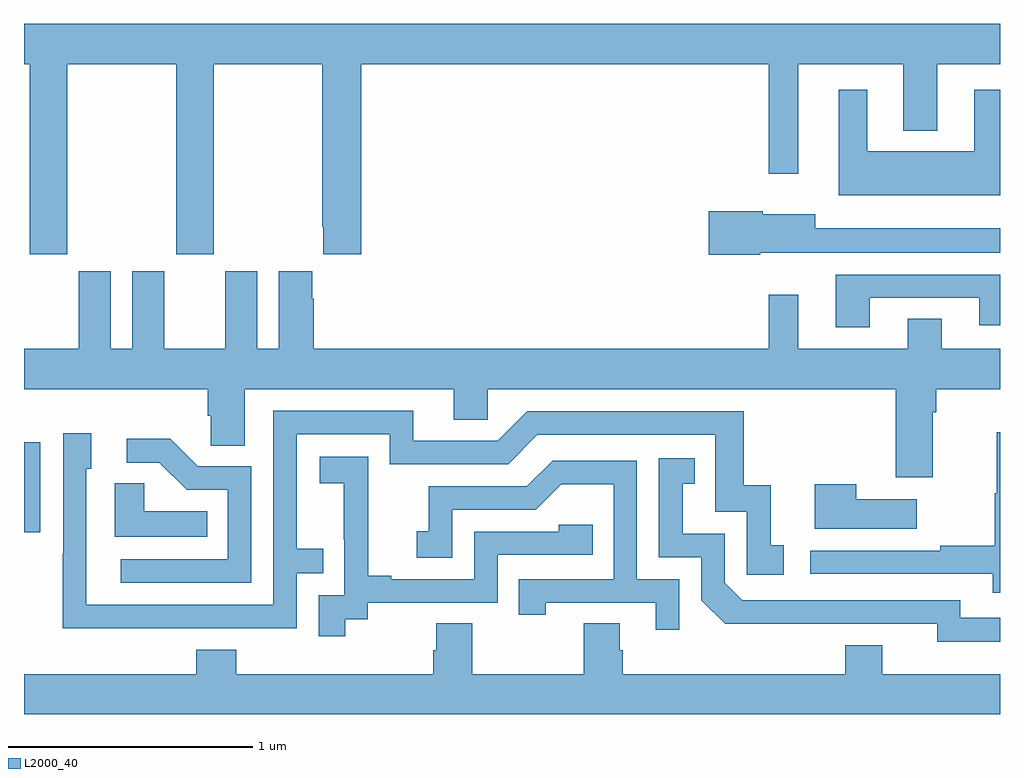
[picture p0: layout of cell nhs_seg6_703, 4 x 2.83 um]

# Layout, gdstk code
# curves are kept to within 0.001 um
import gdstk
lib = gdstk.Library(unit=1e-6, precision=1e-09)
def R(c, l, rs):  # rectangles x0, y0, x1, y1
    for r in rs: c.add(gdstk.rectangle(r[:2], r[2:], *l))
def P(c, l, *ps):  # polygons
    for p in ps: c.add(gdstk.Polygon(p, *l))
L2000_40 = (2000, 40)

nhs_seg6_703 = lib.new_cell('nhs_seg6_703')
R(nhs_seg6_703, L2000_40, [(155,962.733,155.067,963.102)])
P(nhs_seg6_703, L2000_40, [(155,964.652),(155.023,964.652),(155.023,963.873),(155.178,963.873),(155.178,964.652),(155.623,964.652),(155.623,963.873),(155.778,963.873),(155.778,964.652),(156.223,964.652),(156.223,963.985),(156.227,963.985),(156.227,963.873),(156.383,963.873),(156.383,964.652),(158.052,964.652),(158.052,964.203),(158.173,964.203),(158.173,964.652),(158.603,964.652),(158.603,964.379),(158.743,964.379),(158.743,964.652),(159,964.652),(159,964.816),(155,964.816)],
  [(159,964.546),(158.894,964.546),(158.894,964.294),(158.455,964.294),(158.455,964.546),(158.339,964.546),(158.339,964.115),(159,964.115)],
  [(158.018,963.878),(159,963.878),(159,963.979),(158.242,963.979),(158.242,964.036),(158.028,964.036),(158.028,964.049),(157.806,964.049),(157.806,963.871),(158.018,963.871)],
  [(158.725,963.224),(158.738,963.224),(158.738,963.32),(159,963.32),(159,963.484),(158.761,963.484),(158.761,963.608),(158.621,963.608),(158.621,963.484),(158.173,963.484),(158.173,963.706),(158.052,963.706),(158.052,963.484),(156.188,963.484),(156.188,963.689),(156.181,963.689),(156.181,963.802),(156.044,963.802),(156.044,963.484),(155.956,963.484),(155.956,963.802),(155.825,963.802),(155.825,963.484),(155.575,963.484),(155.575,963.802),(155.444,963.802),(155.444,963.484),(155.356,963.484),(155.356,963.802),(155.225,963.802),(155.225,963.484),(155,963.484),(155,963.32),(155.753,963.32),(155.753,963.211),(155.766,963.211),(155.766,963.088),(155.905,963.088),(155.905,963.32),(156.761,963.32),(156.761,963.193),(156.9,963.193),(156.9,963.32),(158.573,963.32),(158.573,962.958),(158.725,962.958)],
  [(158.467,963.693),(158.915,963.693),(158.915,963.581),(159,963.581),(159,963.789),(158.327,963.789),(158.327,963.573),(158.467,963.573)],
  [(155.621,962.34),(156.117,962.34),(156.117,962.565),(156.227,962.565),(156.227,962.666),(156.117,962.666),(156.117,963.135),(156.498,963.135),(156.498,963.012),(156.984,963.012),(157.104,963.132),(157.833,963.132),(157.833,962.817),(157.962,962.817),(157.962,962.559),(158.113,962.559),(158.113,962.679),(158.06,962.679),(158.06,962.926),(157.949,962.926),(157.949,963.228),(157.062,963.228),(156.942,963.108),(156.595,963.108),(156.595,963.231),(156.021,963.231),(156.021,962.436),(155.256,962.436),(155.256,962.994),(155.275,962.994),(155.275,963.139),(155.16,963.139),(155.16,962.645),(155.158,962.645),(155.158,962.339)],
  [(159,963.142),(158.986,963.142),(158.986,962.892),(158.979,962.892),(158.979,962.678),(158.755,962.678),(158.755,962.658),(158.223,962.658),(158.223,962.562),(158.971,962.562),(158.971,962.484),(159,962.484)],
  [(155.931,963.003),(155.712,963.003),(155.599,963.116),(155.421,963.116),(155.421,963.018),(155.555,963.018),(155.666,962.907),(155.835,962.907),(155.835,962.622),(155.397,962.622),(155.397,962.526),(155.931,962.526)],
  [(156.316,962.377),(156.408,962.377),(156.408,962.445),(156.942,962.445),(156.942,962.64),(157.331,962.64),(157.331,962.763),(157.191,962.763),(157.191,962.736),(156.846,962.736),(156.846,962.541),(156.505,962.541),(156.505,962.554),(156.41,962.554),(156.41,962.837),(156.411,962.837),(156.411,963.043),(156.213,963.043),(156.213,962.933),(156.311,962.933),(156.311,962.705),(156.312,962.705),(156.312,962.475),(156.207,962.475),(156.207,962.307),(156.316,962.307)],
  [(159,962.382),(158.838,962.382),(158.838,962.454),(157.944,962.454),(157.872,962.526),(157.872,962.727),(157.699,962.727),(157.699,962.931),(157.748,962.931),(157.748,963.037),(157.602,963.037),(157.602,962.631),(157.776,962.631),(157.776,962.454),(157.874,962.357),(158.742,962.358),(158.742,962.285),(159,962.285)],
  [(157.686,962.541),(157.512,962.541),(157.512,963.027),(157.166,963.027),(157.061,962.922),(156.658,962.922),(156.658,962.737),(156.609,962.737),(156.609,962.628),(156.756,962.628),(156.756,962.826),(157.098,962.826),(157.202,962.93),(157.416,962.93),(157.416,962.541),(157.027,962.541),(157.027,962.394),(157.138,962.394),(157.138,962.445),(157.589,962.445),(157.589,962.334),(157.686,962.334)],
  [(155.75,962.818),(155.493,962.818),(155.493,962.933),(155.372,962.933),(155.372,962.714),(155.75,962.714)],
  [(158.659,962.869),(158.411,962.869),(158.411,962.929),(158.24,962.929),(158.24,962.747),(158.659,962.747)],
  [(159,962.152),(158.518,962.152),(158.518,962.269),(158.366,962.269),(158.366,962.152),(157.454,962.152),(157.454,962.25),(157.441,962.25),(157.441,962.36),(157.294,962.36),(157.294,962.152),(156.837,962.152),(156.837,962.36),(156.689,962.36),(156.689,962.25),(156.677,962.25),(156.677,962.152),(155.87,962.152),(155.87,962.251),(155.705,962.251),(155.705,962.152),(155,962.152),(155,961.988),(159,961.988)])

lib.write_gds('nhs_seg6_703.gds')
